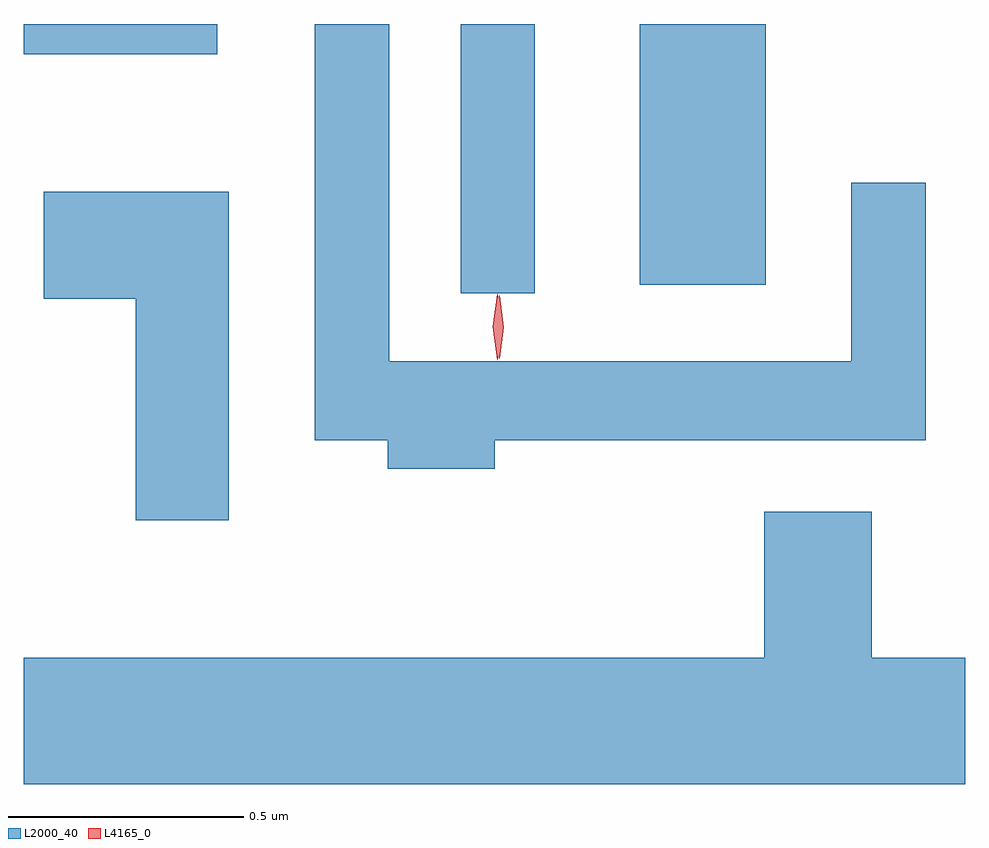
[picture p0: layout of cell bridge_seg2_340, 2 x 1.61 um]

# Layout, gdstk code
import gdstk
lib = gdstk.Library(unit=1e-6, precision=1e-09)
def R(c, l, rs):  # rectangles x0, y0, x1, y1
    for r in rs: c.add(gdstk.rectangle(r[:2], r[2:], *l))
def P(c, l, *ps):  # polygons
    for p in ps: c.add(gdstk.Polygon(p, *l))
L2000_40 = (2000, 40)
L4165_0 = (4165, 0)

bridge_seg2_340 = lib.new_cell('bridge_seg2_340')
R(bridge_seg2_340, L2000_40, [(465.736,1033.818,465.894,1034.39), (466.116,1033.836,466.384,1034.39), (464.808,1034.326,465.219,1034.39)])
P(bridge_seg2_340, L2000_40, [(465.809,1033.506),(466.724,1033.506),(466.724,1034.053),(466.566,1034.053),(466.566,1033.674),(465.584,1033.674),(465.584,1034.39),(465.426,1034.39),(465.426,1033.506),(465.581,1033.506),(465.581,1033.446),(465.809,1033.446)],
  [(465.244,1034.034),(464.851,1034.034),(464.851,1033.806),(465.046,1033.806),(465.046,1033.336),(465.244,1033.336)],
  [(466.808,1033.044),(466.609,1033.044),(466.609,1033.354),(466.381,1033.354),(466.381,1033.044),(464.808,1033.044),(464.808,1032.776),(466.808,1032.776)])
P(bridge_seg2_340, L4165_0, [(465.814,1033.677),(465.814,1033.677),(465.804,1033.747),(465.814,1033.816),(465.814,1033.816),(465.815,1033.816),(465.824,1033.747),(465.815,1033.677)],
  [(465.818,1033.679),(465.818,1033.68),(465.808,1033.746),(465.818,1033.813),(465.818,1033.813),(465.819,1033.813),(465.828,1033.746),(465.819,1033.68)])

lib.write_gds('bridge_seg2_340.gds')
